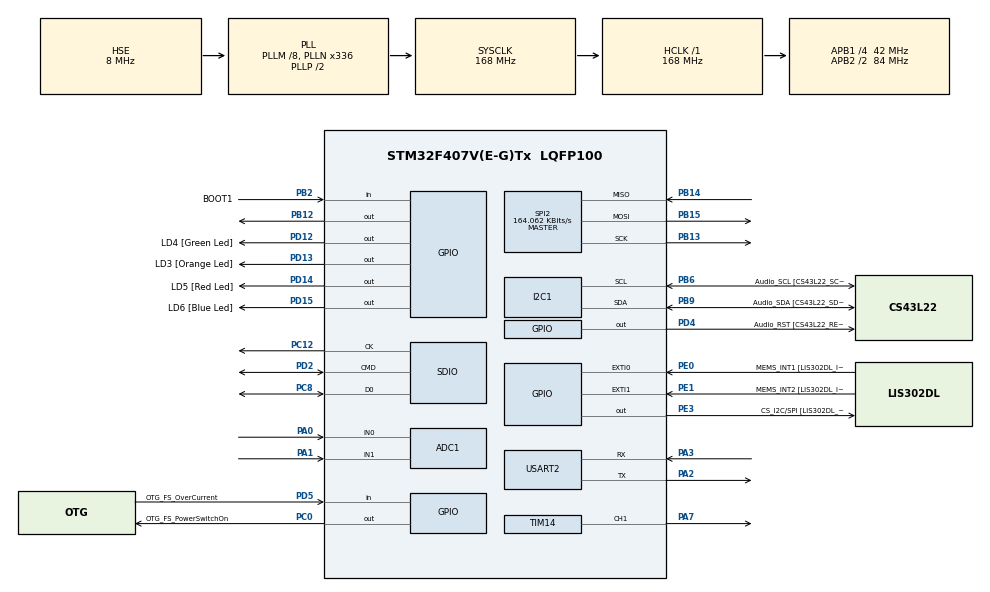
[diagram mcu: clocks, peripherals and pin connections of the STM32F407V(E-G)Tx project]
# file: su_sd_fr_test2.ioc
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ADC1.Channel-0\#ChannelRegularConversion=ADC_CHANNEL_0
ADC1.ContinuousConvMode=DISABLE
ADC1.NbrOfConversionFlag=1
ADC1.Rank-0\#ChannelRegularConversion=1
ADC1.SamplingTime-0\#ChannelRegularConversion=ADC_SAMPLETIME_3CYCLES
ADC1.master=1
Mcu.Family=STM32F4
Mcu.Name=STM32F407V(E-G)Tx
Mcu.Package=LQFP100
NVIC.ADC_IRQn=true\:0\:0\:false
NVIC.I2C1_EV_IRQn=true\:0\:0\:false
NVIC.PriorityGroup=NVIC_PRIORITYGROUP_4
NVIC.SDIO_IRQn=true\:0\:0\:false
NVIC.SPI2_IRQn=true\:0\:0\:false
NVIC.TIM8_TRG_COM_TIM14_IRQn=true\:0\:0\:false
NVIC.USART2_IRQn=true\:0\:0\:false
PA0-WKUP.Signal=ADCx_IN0
PA1.Signal=ADCx_IN1
PA10.GPIO_Label=OTG_FS_ID
PA10.GPIO_Mode=GPIO_MODE_AF_PP
PA10.GPIO_PuPd=GPIO_NOPULL
PA10.GPIO_Speed=GPIO_SPEED_LOW
PA10.Signal=USB_OTG_FS_ID
PA11.GPIO_Label=OTG_FS_DM
PA11.GPIO_Mode=GPIO_MODE_AF_PP
PA11.GPIO_PuPd=GPIO_NOPULL
PA11.GPIO_Speed=GPIO_SPEED_LOW
PA11.Signal=USB_OTG_FS_DM
PA12.GPIO_Label=OTG_FS_DP
PA12.GPIO_Mode=GPIO_MODE_AF_PP
PA12.GPIO_PuPd=GPIO_NOPULL
PA12.GPIO_Speed=GPIO_SPEED_LOW
PA12.Signal=USB_OTG_FS_DP
PA13.GPIO_Label=SWDIO
PA13.Mode=Trace-Asynchronous_SW
PA13.Signal=SYS_JTMS-SWDIO
PA14.GPIO_Label=SWCLK
PA14.Mode=Trace-Asynchronous_SW
PA14.Signal=SYS_JTCK-SWCLK
PA2.Mode=Asynchronous
PA2.Signal=USART2_TX
PA3.Mode=Asynchronous
PA3.Signal=USART2_RX
PA4.GPIO_Label=I2S3_WS [CS43L22_LRCK]
PA4.GPIO_Mode=GPIO_MODE_AF_PP
PA4.GPIO_PuPd=GPIO_NOPULL
PA4.GPIO_Speed=GPIO_SPEED_LOW
PA4.Signal=I2S3_WS
PA5.GPIO_Label=SPI1_SCK [LIS302DL_SCL/SPC]
PA5.GPIO_Mode=GPIO_MODE_AF_PP
PA5.GPIO_PuPd=GPIO_NOPULL
PA5.GPIO_Speed=GPIO_SPEED_LOW
PA5.Signal=SPI1_SCK
PA6.GPIO_Label=SPI1_MISO [LIS302DL_SDO]
PA6.GPIO_Mode=GPIO_MODE_AF_PP
PA6.GPIO_PuPd=GPIO_NOPULL
PA6.GPIO_Speed=GPIO_SPEED_LOW
PA6.Signal=SPI1_MISO
PA7.Signal=S_TIM14_CH1
PA9.GPIO_Label=VBUS_FS
PA9.GPIO_Mode=GPIO_MODE_INPUT
PA9.GPIO_PuPd=GPIO_NOPULL
PA9.Signal=USB_OTG_FS_VBUS
PB10.GPIO_Label=CLK_IN [MP45DT02_CLK]
PB10.GPIO_Mode=GPIO_MODE_AF_PP
PB10.GPIO_PuPd=GPIO_NOPULL
PB10.GPIO_Speed=GPIO_SPEED_LOW
PB10.Signal=I2S2_CK
PB12.GPIO_ModeDefaultOutputPP=GPIO_MODE_OUTPUT_OD
PB12.GPIO_PuPd=GPIO_PULLUP
PB12.GPIO_Speed=GPIO_SPEED_HIGH
PB12.Signal=GPIO_Output
PB13.Mode=Full_Duplex_Master
PB13.Signal=SPI2_SCK
PB14.Mode=Full_Duplex_Master
PB14.Signal=SPI2_MISO
PB15.Mode=Full_Duplex_Master
PB15.Signal=SPI2_MOSI
PB2.GPIO_Label=BOOT1
PB2.GPIO_Mode=GPIO_MODE_INPUT
PB2.GPIO_PuPd=GPIO_NOPULL
PB2.Signal=GPIO_Input
PB3.GPIO_Label=SWO
PB3.Mode=Trace-Asynchronous_SW
PB3.Signal=SYS_JTDO-SWO
PB6.GPIO_Label=Audio_SCL [CS43L22_SCL]
PB6.GPIO_Mode=GPIO_MODE_AF_OD
PB6.GPIO_PuPd=GPIO_NOPULL
PB6.GPIO_Speed=GPIO_SPEED_LOW
PB6.Mode=I2C
PB6.Signal=I2C1_SCL
PB9.GPIO_Label=Audio_SDA [CS43L22_SDA]
PB9.GPIO_Mode=GPIO_MODE_AF_OD
PB9.GPIO_PuPd=GPIO_NOPULL
PB9.GPIO_Speed=GPIO_SPEED_LOW
PB9.Mode=I2C
PB9.Signal=I2C1_SDA
PC0.GPIO_Label=OTG_FS_PowerSwitchOn
PC0.GPIO_PuPd=GPIO_NOPULL
PC0.GPIO_Speed=GPIO_SPEED_LOW
PC0.Signal=GPIO_Output
PC10.GPIO_Label=I2S3_SCK [CS43L22_SCLK]
PC10.GPIO_Mode=GPIO_MODE_AF_PP
PC10.GPIO_PuPd=GPIO_NOPULL
PC10.GPIO_Speed=GPIO_SPEED_LOW
PC10.Signal=I2S3_CK
PC12.Mode=SD_1_bit
PC12.Signal=SDIO_CK
PC14-OSC32_IN.GPIO_Label=PC14-OSC32_IN
PC14-OSC32_IN.Signal=RCC_OSC32_IN
PC15-OSC32_OUT.GPIO_Label=PC15-OSC32_OUT
PC15-OSC32_OUT.Signal=RCC_OSC32_OUT
PC3.GPIO_Label=PDM_OUT [MP45DT02_DOUT]
PC3.GPIO_Mode=GPIO_MODE_AF_PP
PC3.GPIO_PuPd=GPIO_NOPULL
PC3.GPIO_Speed=GPIO_SPEED_LOW
PC3.Signal=I2S2_SD
PC7.GPIO_Label=I2S3_MCK [CS43L22_MCLK]
PC7.GPIO_Mode=GPIO_MODE_AF_PP
PC7.GPIO_PuPd=GPIO_NOPULL
PC7.GPIO_Speed=GPIO_SPEED_LOW
PC7.Signal=I2S3_MCK
PC8.Mode=SD_1_bit
PC8.Signal=SDIO_D0
PD12.GPIO_Label=LD4 [Green Led]
PD12.GPIO_PuPd=GPIO_NOPULL
PD12.GPIO_Speed=GPIO_SPEED_LOW
PD12.Signal=GPIO_Output
PD13.GPIO_Label=LD3 [Orange Led]
PD13.GPIO_PuPd=GPIO_NOPULL
PD13.GPIO_Speed=GPIO_SPEED_LOW
PD13.Signal=GPIO_Output
PD14.GPIO_Label=LD5 [Red Led]
PD14.GPIO_PuPd=GPIO_NOPULL
PD14.GPIO_Speed=GPIO_SPEED_LOW
PD14.Signal=GPIO_Output
PD15.GPIO_Label=LD6 [Blue Led]
PD15.GPIO_PuPd=GPIO_NOPULL
PD15.GPIO_Speed=GPIO_SPEED_LOW
PD15.Signal=GPIO_Output
PD2.Mode=SD_1_bit
PD2.Signal=SDIO_CMD
PD4.GPIO_Label=Audio_RST [CS43L22_RESET]
PD4.GPIO_PuPd=GPIO_NOPULL
PD4.GPIO_Speed=GPIO_SPEED_LOW
PD4.Signal=GPIO_Output
PD5.GPIO_Label=OTG_FS_OverCurrent
PD5.GPIO_Mode=GPIO_MODE_INPUT
PD5.GPIO_PuPd=GPIO_NOPULL
PD5.Signal=GPIO_Input
PE0.GPIO_Label=MEMS_INT1 [LIS302DL_INT1]
PE0.Signal=GPXTI0
PE1.GPIO_Label=MEMS_INT2 [LIS302DL_INT2]
PE1.GPIO_ModeDefaultEXTI=GPIO_MODE_EVT_RISING
PE1.GPIO_PuPd=GPIO_NOPULL
PE1.Signal=GPXTI1
PE3.GPIO_Label=CS_I2C/SPI [LIS302DL_CS_I2C/SPI]
PE3.GPIO_PuPd=GPIO_NOPULL
PE3.GPIO_Speed=GPIO_SPEED_LOW
PE3.Signal=GPIO_Output
PH0-OSC_IN.GPIO_Label=PH0-OSC_IN
PH0-OSC_IN.Mode=HSE-External-Oscillator
PH0-OSC_IN.Signal=RCC_OSC_IN
PH1-OSC_OUT.GPIO_Label=PH1-OSC_OUT
PH1-OSC_OUT.Mode=HSE-External-Oscillator
PH1-OSC_OUT.Signal=RCC_OSC_OUT
ProjectManager.TargetToolchain=EWARM
RCC.AHBFreq_Value=168000000
RCC.APB1CLKDivider=RCC_HCLK_DIV4
RCC.APB1Freq_Value=42000000
RCC.APB1TimFreq_Value=84000000
RCC.APB2CLKDivider=RCC_HCLK_DIV2
RCC.APB2Freq_Value=84000000
RCC.APB2TimFreq_Value=168000000
RCC.CortexFreq_Value=168000000
RCC.HCLKFreq_Value=168000000
RCC.HSE_VALUE=8000000
RCC.HSI_VALUE=16000000
RCC.LSE_VALUE=32768
RCC.PLLM=8
RCC.PLLN=336
RCC.PLLQ=7
RCC.PLLSourceVirtual=RCC_PLLSOURCE_HSE
RCC.SYSCLKFreq_VALUE=168000000
RCC.SYSCLKSource=RCC_SYSCLKSOURCE_PLLCLK
RCC.VCOOutputFreq_Value=336000000
SDIO.BusWide=SDIO_BUS_WIDE_1B
SH.ADCx_IN0.0=ADC1_IN0,IN0
SH.ADCx_IN1.0=ADC1_IN1,IN1
SH.S_TIM14_CH1.0=TIM14_CH1,PWM Generation1 CH1
SPI2.BaudRatePrescaler=SPI_BAUDRATEPRESCALER_256
SPI2.CalculateBaudRate=164.062 KBits/s
SPI2.Mode=SPI_MODE_MASTER
TIM14.Period=0
TIM14.Pulse=0x00ff
VP_FATFS_VS_SDIO.Mode=SDIO
VP_TIM14_VS_ClockSourceINT.Mode=Enable_Timer
board=STM32F407G-DISC1

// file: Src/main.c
/**
  ******************************************************************************
  * File Name          : main.c
  * Description        : Main program body
  ******************************************************************************
  *
  * COPYRIGHT(c) 2016 STMicroelectronics
  *
  * Redistribution and use in source and binary forms, with or without modification,
  * are permitted provided that the following conditions are met:
  *   1. Redistributions of source code must retain the above copyright notice,
  *      this list of conditions and the following disclaimer.
  *   2. Redistributions in binary form must reproduce the above copyright notice,
  *      this list of conditions and the following disclaimer in the documentation
  *      and/or other materials provided with the distribution.
  *   3. Neither the name of STMicroelectronics nor the names of its contributors
  *      may be used to endorse or promote products derived from this software
  *      without specific prior written permission.
  *
  * THIS SOFTWARE IS PROVIDED BY THE COPYRIGHT HOLDERS AND CONTRIBUTORS "AS IS"
  * AND ANY EXPRESS OR IMPLIED WARRANTIES, INCLUDING, BUT NOT LIMITED TO, THE
  * IMPLIED WARRANTIES OF MERCHANTABILITY AND FITNESS FOR A PARTICULAR PURPOSE ARE
  * DISCLAIMED. IN NO EVENT SHALL THE COPYRIGHT HOLDER OR CONTRIBUTORS BE LIABLE
  * FOR ANY DIRECT, INDIRECT, INCIDENTAL, SPECIAL, EXEMPLARY, OR CONSEQUENTIAL
  * DAMAGES (INCLUDING, BUT NOT LIMITED TO, PROCUREMENT OF SUBSTITUTE GOODS OR
  * SERVICES; LOSS OF USE, DATA, OR PROFITS; OR BUSINESS INTERRUPTION) HOWEVER
  * CAUSED AND ON ANY THEORY OF LIABILITY, WHETHER IN CONTRACT, STRICT LIABILITY,
  * OR TORT (INCLUDING NEGLIGENCE OR OTHERWISE) ARISING IN ANY WAY OUT OF THE USE
  * OF THIS SOFTWARE, EVEN IF ADVISED OF THE POSSIBILITY OF SUCH DAMAGE.
  *
  ******************************************************************************
  */
#include "stm32f4xx_hal.h"
#include "fatfs.h"

/* USER CODE BEGIN Includes */
  FIL MyFile;

  FRESULT res;                                          /* FatFs function common result code */
  uint32_t byteswritten, bytesread;                     /* File write/read counts */
  uint8_t wtext[] = "This is STM32 working with FatFs"; /* File write buffer */
  uint8_t rtext[100];
  FATFS test;
/* USER CODE END Includes */

ADC_HandleTypeDef hadc1;

I2C_HandleTypeDef hi2c1;

SD_HandleTypeDef hsd;
HAL_SD_CardInfoTypedef SDCardInfo;

SPI_HandleTypeDef hspi2;

TIM_HandleTypeDef htim14;

UART_HandleTypeDef huart2;

/* USER CODE BEGIN PV */
/* Private variables ---------------------------------------------------------*/

/* USER CODE END PV */

void SystemClock_Config(void);
static void MX_GPIO_Init(void);
static void MX_ADC1_Init(void);
static void MX_I2C1_Init(void);
static void MX_SDIO_SD_Init(void);
static void MX_SPI2_Init(void);
static void MX_TIM14_Init(void);
static void MX_USART2_UART_Init(void);

/* USER CODE BEGIN PFP */
/* Private function prototypes -----------------------------------------------*/

/* USER CODE END PFP */

int main(void)
{

  /* MCU Configuration----------------------------------------------------------*/

  /* Reset of all peripherals, Initializes the Flash interface and the Systick. */
  HAL_Init();

  /* Configure the system clock */
  SystemClock_Config();

  /* Initialize all configured peripherals */
  MX_GPIO_Init();
  MX_ADC1_Init();
  MX_I2C1_Init();
  MX_SDIO_SD_Init();
  MX_SPI2_Init();
  MX_TIM14_Init();
  MX_USART2_UART_Init();
  MX_FATFS_Init();

  /* USER CODE BEGIN 2 */
  /* Register the file system object to the FatFs module */
  HAL_GPIO_WritePin(GPIOB, GPIO_PIN_12, GPIO_PIN_SET);

  /* Register the file system object to the FatFs module */
//  if(f_mount(&test, SD_Path, 0) != FR_OK)
//  {
//    /* FatFs Initialization Error */
//  }
//  else
//  {
//      /* Create and Open a new text file object with write access */
//   FRESULT lala = f_open(&MyFile, "STM32.TXT", FA_CREATE_ALWAYS | FA_WRITE);
//      if(lala != FR_OK)
//      {
//        /* 'STM32.TXT' file Open for write Error */
//      }
//      else
//      {
//        /* Write data to the text file */
//        res = f_write(&MyFile, wtext, sizeof(wtext), (void *)&byteswritten);
//
//        if((byteswritten == 0) || (res != FR_OK))
//        {
//          /* 'STM32.TXT' file Write or EOF Error */
//        }
//        else
//        {
//          /* Close the open text file */
//          f_close(&MyFile);
//        }
//      }
//  }
//  0x0f
  uint8_t temp[2],rtemp[2];
  uint32_t cnt, cnv;
  TIM_OC_InitTypeDef sConfigOC;

       sConfigOC.OCMode = TIM_OCMODE_PWM1;
     sConfigOC.Pulse = 0;
     sConfigOC.OCPolarity = TIM_OCPOLARITY_HIGH;
     sConfigOC.OCFastMode = TIM_OCFAST_DISABLE;

  temp[0] = 0x20;
  temp[1] = 0x0F;

  //while(HAL_I2C_IsDeviceReady(&hi2c1,  ( 0x3B << 1 ), 3, 1000) != HAL_I2C_STATE_READY ) {}
  HAL_TIM_Base_Start(&htim14);
  HAL_TIM_PWM_Start(&htim14, TIM_CHANNEL_1);

  HAL_I2C_Mem_Write(&hi2c1, ( 0x6B << 1 ), 0x20, 1, temp, 1, 10000);
  temp[0] = 0x01;
  HAL_I2C_Mem_Read(&hi2c1, ( 0x6B << 1 ), 0x0f, 1, temp, 1, 10000);

  HAL_ADC_Start(&hadc1);
  HAL_ADC_PollForConversion(&hadc1, 10000);
  cnv = HAL_ADC_GetValue(&hadc1);

  temp[0] = 0xB6;

  /* USER CODE END 2 */

  /* Infinite loop */
  /* USER CODE BEGIN WHILE */
  while (1)
  {
     HAL_UART_Transmit(&huart2, temp, 2 , 10000);
     HAL_Delay(1000);
     HAL_I2C_Mem_Read(&hi2c1, ( 0x3B << 1 ), 0x0f, 1, temp, 1, 10000);

     HAL_GPIO_WritePin(GPIOB, GPIO_PIN_12, GPIO_PIN_RESET);
     HAL_SPI_TransmitReceive(&hspi2, temp, rtemp, 2, 10000);
     HAL_GPIO_WritePin(GPIOB, GPIO_PIN_12, GPIO_PIN_SET);

     cnt += 250;
     if( cnt > 0x0fff ) cnt = 0;
     sConfigOC.Pulse = cnt;
     HAL_TIM_PWM_ConfigChannel(&htim14, &sConfigOC, TIM_CHANNEL_1);
     HAL_TIM_PWM_Start(&htim14, TIM_CHANNEL_1);

     HAL_ADC_Start(&hadc1);
     HAL_ADC_PollForConversion(&hadc1, 10000);
     cnv = HAL_ADC_GetValue(&hadc1);
     HAL_UART_Transmit(&huart2, (uint8_t *) &cnv, 1 , 10000);

  /* USER CODE END WHILE */

  }

}

/** System Clock Configuration
*/
void SystemClock_Config(void)
{

  RCC_OscInitTypeDef RCC_OscInitStruct;
  RCC_ClkInitTypeDef RCC_ClkInitStruct;

  __PWR_CLK_ENABLE();

  __HAL_PWR_VOLTAGESCALING_CONFIG(PWR_REGULATOR_VOLTAGE_SCALE1);

  RCC_OscInitStruct.OscillatorType = RCC_OSCILLATORTYPE_HSE;
  RCC_OscInitStruct.HSEState = RCC_HSE_ON;
  RCC_OscInitStruct.PLL.PLLState = RCC_PLL_ON;
  RCC_OscInitStruct.PLL.PLLSource = RCC_PLLSOURCE_HSE;
  RCC_OscInitStruct.PLL.PLLM = 8;
  RCC_OscInitStruct.PLL.PLLN = 336;
  RCC_OscInitStruct.PLL.PLLP = RCC_PLLP_DIV2;
  RCC_OscInitStruct.PLL.PLLQ = 7;
  HAL_RCC_OscConfig(&RCC_OscInitStruct);

  RCC_ClkInitStruct.ClockType = RCC_CLOCKTYPE_SYSCLK|RCC_CLOCKTYPE_PCLK1
                              |RCC_CLOCKTYPE_PCLK2;
  RCC_ClkInitStruct.SYSCLKSource = RCC_SYSCLKSOURCE_PLLCLK;
  RCC_ClkInitStruct.AHBCLKDivider = RCC_SYSCLK_DIV1;
  RCC_ClkInitStruct.APB1CLKDivider = RCC_HCLK_DIV4;
  RCC_ClkInitStruct.APB2CLKDivider = RCC_HCLK_DIV2;
  HAL_RCC_ClockConfig(&RCC_ClkInitStruct, FLASH_LATENCY_5);

  HAL_SYSTICK_Config(HAL_RCC_GetHCLKFreq()/1000);

  HAL_SYSTICK_CLKSourceConfig(SYSTICK_CLKSOURCE_HCLK);

  /* SysTick_IRQn interrupt configuration */
  HAL_NVIC_SetPriority(SysTick_IRQn, 0, 0);
}

/* ADC1 init function */
void MX_ADC1_Init(void)
{

  ADC_ChannelConfTypeDef sConfig;

    /**Configure the global features of the ADC (Clock, Resolution, Data Alignment and number of conversion)
    */
  hadc1.Instance = ADC1;
  hadc1.Init.ClockPrescaler = ADC_CLOCKPRESCALER_PCLK_DIV4;
  hadc1.Init.Resolution = ADC_RESOLUTION12b;
  hadc1.Init.ScanConvMode = DISABLE;
  hadc1.Init.ContinuousConvMode = DISABLE;
  hadc1.Init.DiscontinuousConvMode = DISABLE;
  hadc1.Init.ExternalTrigConvEdge = ADC_EXTERNALTRIGCONVEDGE_NONE;
  hadc1.Init.DataAlign = ADC_DATAALIGN_RIGHT;
  hadc1.Init.NbrOfConversion = 1;
  hadc1.Init.DMAContinuousRequests = DISABLE;
  hadc1.Init.EOCSelection = EOC_SINGLE_CONV;
  HAL_ADC_Init(&hadc1);

    /**Configure for the selected ADC regular channel its corresponding rank in the sequencer and its sample time.
    */
  sConfig.Channel = ADC_CHANNEL_0;
  sConfig.Rank = 1;
  sConfig.SamplingTime = ADC_SAMPLETIME_3CYCLES;
  HAL_ADC_ConfigChannel(&hadc1, &sConfig);

}

/* I2C1 init function */
void MX_I2C1_Init(void)
{

  hi2c1.Instance = I2C1;
  hi2c1.Init.ClockSpeed = 100000;
  hi2c1.Init.DutyCycle = I2C_DUTYCYCLE_2;
  hi2c1.Init.OwnAddress1 = 0;
  hi2c1.Init.AddressingMode = I2C_ADDRESSINGMODE_7BIT;
  hi2c1.Init.DualAddressMode = I2C_DUALADDRESS_DISABLED;
  hi2c1.Init.OwnAddress2 = 0;
  hi2c1.Init.GeneralCallMode = I2C_GENERALCALL_DISABLED;
  hi2c1.Init.NoStretchMode = I2C_NOSTRETCH_DISABLED;
  HAL_I2C_Init(&hi2c1);

}

/* SDIO init function */
void MX_SDIO_SD_Init(void)
{

  hsd.Instance = SDIO;
  hsd.Init.ClockEdge = SDIO_CLOCK_EDGE_RISING;
  hsd.Init.ClockBypass = SDIO_CLOCK_BYPASS_DISABLE;
  hsd.Init.ClockPowerSave = SDIO_CLOCK_POWER_SAVE_DISABLE;
  hsd.Init.BusWide = SDIO_BUS_WIDE_1B;
  hsd.Init.HardwareFlowControl = SDIO_HARDWARE_FLOW_CONTROL_DISABLE;
  hsd.Init.ClockDiv = 0;

}

/* SPI2 init function */
void MX_SPI2_Init(void)
{

  hspi2.Instance = SPI2;
  hspi2.Init.Mode = SPI_MODE_MASTER;
  hspi2.Init.Direction = SPI_DIRECTION_2LINES;
  hspi2.Init.DataSize = SPI_DATASIZE_8BIT;
  hspi2.Init.CLKPolarity = SPI_POLARITY_LOW;
  hspi2.Init.CLKPhase = SPI_PHASE_1EDGE;
  hspi2.Init.NSS = SPI_NSS_SOFT;
  hspi2.Init.BaudRatePrescaler = SPI_BAUDRATEPRESCALER_256;
  hspi2.Init.FirstBit = SPI_FIRSTBIT_MSB;
  hspi2.Init.TIMode = SPI_TIMODE_DISABLED;
  hspi2.Init.CRCCalculation = SPI_CRCCALCULATION_DISABLED;
  hspi2.Init.CRCPolynomial = 10;
  HAL_SPI_Init(&hspi2);

}

/* TIM14 init function */
void MX_TIM14_Init(void)
{

  TIM_OC_InitTypeDef sConfigOC;

  htim14.Instance = TIM14;
  htim14.Init.Prescaler = 0;
  htim14.Init.CounterMode = TIM_COUNTERMODE_UP;
  htim14.Init.Period = 0x0fff;
  htim14.Init.ClockDivision = TIM_CLOCKDIVISION_DIV1;
  HAL_TIM_Base_Init(&htim14);

  HAL_TIM_PWM_Init(&htim14);

  sConfigOC.OCMode = TIM_OCMODE_PWM1;
  sConfigOC.Pulse = 0x009ff;
  sConfigOC.OCPolarity = TIM_OCPOLARITY_HIGH;
  sConfigOC.OCFastMode = TIM_OCFAST_DISABLE;
  HAL_TIM_PWM_ConfigChannel(&htim14, &sConfigOC, TIM_CHANNEL_1);

}

/* USART2 init function */
void MX_USART2_UART_Init(void)
{

  huart2.Instance = USART2;
  huart2.Init.BaudRate = 115200;
  huart2.Init.WordLength = UART_WORDLENGTH_8B;
  huart2.Init.StopBits = UART_STOPBITS_1;
  huart2.Init.Parity = UART_PARITY_NONE;
  huart2.Init.Mode = UART_MODE_TX_RX;
  huart2.Init.HwFlowCtl = UART_HWCONTROL_NONE;
  huart2.Init.OverSampling = UART_OVERSAMPLING_16;
  HAL_UART_Init(&huart2);

}

/** Configure pins as
        * Analog
        * Input
        * Output
        * EVENT_OUT
        * EXTI
     PC3   ------> I2S2_SD
     PA4   ------> I2S3_WS
     PA5   ------> SPI1_SCK
     PA6   ------> SPI1_MISO
     PB10   ------> I2S2_CK
     PC7   ------> I2S3_MCK
     PA9   ------> USB_OTG_FS_VBUS
     PA10   ------> USB_OTG_FS_ID
     PA11   ------> USB_OTG_FS_DM
     PA12   ------> USB_OTG_FS_DP
     PC10   ------> I2S3_CK
*/
void MX_GPIO_Init(void)
{

  GPIO_InitTypeDef GPIO_InitStruct;

  /* GPIO Ports Clock Enable */
  __GPIOE_CLK_ENABLE();
  __GPIOC_CLK_ENABLE();
  __GPIOH_CLK_ENABLE();
  __GPIOA_CLK_ENABLE();
  __GPIOB_CLK_ENABLE();
  __GPIOD_CLK_ENABLE();

  /*Configure GPIO pin : CS_I2C_SPI_Pin */
  GPIO_InitStruct.Pin = CS_I2C_SPI_Pin;
  GPIO_InitStruct.Mode = GPIO_MODE_OUTPUT_PP;
  GPIO_InitStruct.Pull = GPIO_NOPULL;
  GPIO_InitStruct.Speed = GPIO_SPEED_LOW;
  HAL_GPIO_Init(CS_I2C_SPI_GPIO_Port, &GPIO_InitStruct);

  /*Configure GPIO pin : OTG_FS_PowerSwitchOn_Pin */
  GPIO_InitStruct.Pin = OTG_FS_PowerSwitchOn_Pin;
  GPIO_InitStruct.Mode = GPIO_MODE_OUTPUT_PP;
  GPIO_InitStruct.Pull = GPIO_NOPULL;
  GPIO_InitStruct.Speed = GPIO_SPEED_LOW;
  HAL_GPIO_Init(OTG_FS_PowerSwitchOn_GPIO_Port, &GPIO_InitStruct);

  /*Configure GPIO pin : PDM_OUT_Pin */
  GPIO_InitStruct.Pin = PDM_OUT_Pin;
  GPIO_InitStruct.Mode = GPIO_MODE_AF_PP;
  GPIO_InitStruct.Pull = GPIO_NOPULL;
  GPIO_InitStruct.Speed = GPIO_SPEED_LOW;
  GPIO_InitStruct.Alternate = GPIO_AF5_SPI2;
  HAL_GPIO_Init(PDM_OUT_GPIO_Port, &GPIO_InitStruct);

  /*Configure GPIO pin : PA4 */
  GPIO_InitStruct.Pin = GPIO_PIN_4;
  GPIO_InitStruct.Mode = GPIO_MODE_AF_PP;
  GPIO_InitStruct.Pull = GPIO_NOPULL;
  GPIO_InitStruct.Speed = GPIO_SPEED_LOW;
  GPIO_InitStruct.Alternate = GPIO_AF6_SPI3;
  HAL_GPIO_Init(GPIOA, &GPIO_InitStruct);

  /*Configure GPIO pins : PA5 PA6 */
  GPIO_InitStruct.Pin = GPIO_PIN_5|GPIO_PIN_6;
  GPIO_InitStruct.Mode = GPIO_MODE_AF_PP;
  GPIO_InitStruct.Pull = GPIO_NOPULL;
  GPIO_InitStruct.Speed = GPIO_SPEED_LOW;
  GPIO_InitStruct.Alternate = GPIO_AF5_SPI1;
  HAL_GPIO_Init(GPIOA, &GPIO_InitStruct);

  /*Configure GPIO pin : BOOT1_Pin */
  GPIO_InitStruct.Pin = BOOT1_Pin;
  GPIO_InitStruct.Mode = GPIO_MODE_INPUT;
  GPIO_InitStruct.Pull = GPIO_NOPULL;
  HAL_GPIO_Init(BOOT1_GPIO_Port, &GPIO_InitStruct);

  /*Configure GPIO pin : CLK_IN_Pin */
  GPIO_InitStruct.Pin = CLK_IN_Pin;
  GPIO_InitStruct.Mode = GPIO_MODE_AF_PP;
  GPIO_InitStruct.Pull = GPIO_NOPULL;
  GPIO_InitStruct.Speed = GPIO_SPEED_LOW;
  GPIO_InitStruct.Alternate = GPIO_AF5_SPI2;
  HAL_GPIO_Init(CLK_IN_GPIO_Port, &GPIO_InitStruct);

  /*Configure GPIO pin : PB12 */
  GPIO_InitStruct.Pin = GPIO_PIN_12;
  GPIO_InitStruct.Mode = GPIO_MODE_OUTPUT_OD;
  GPIO_InitStruct.Pull = GPIO_PULLUP;
  GPIO_InitStruct.Speed = GPIO_SPEED_HIGH;
  HAL_GPIO_Init(GPIOB, &GPIO_InitStruct);

  /*Configure GPIO pins : LD4_Pin LD3_Pin LD5_Pin LD6_Pin
                           Audio_RST_Pin */
  GPIO_InitStruct.Pin = LD4_Pin|LD3_Pin|LD5_Pin|LD6_Pin
                          |Audio_RST_Pin;
  GPIO_InitStruct.Mode = GPIO_MODE_OUTPUT_PP;
  GPIO_InitStruct.Pull = GPIO_NOPULL;
  GPIO_InitStruct.Speed = GPIO_SPEED_LOW;
  HAL_GPIO_Init(GPIOD, &GPIO_InitStruct);

  /*Configure GPIO pins : PC7 I2S3_SCK_Pin */
  GPIO_InitStruct.Pin = GPIO_PIN_7|I2S3_SCK_Pin;
  GPIO_InitStruct.Mode = GPIO_MODE_AF_PP;
  GPIO_InitStruct.Pull = GPIO_NOPULL;
  GPIO_InitStruct.Speed = GPIO_SPEED_LOW;
  GPIO_InitStruct.Alternate = GPIO_AF6_SPI3;
  HAL_GPIO_Init(GPIOC, &GPIO_InitStruct);

  /*Configure GPIO pin : VBUS_FS_Pin */
  GPIO_InitStruct.Pin = VBUS_FS_Pin;
  GPIO_InitStruct.Mode = GPIO_MODE_INPUT;
  GPIO_InitStruct.Pull = GPIO_NOPULL;
  HAL_GPIO_Init(VBUS_FS_GPIO_Port, &GPIO_InitStruct);

  /*Configure GPIO pins : OTG_FS_ID_Pin OTG_FS_DM_Pin OTG_FS_DP_Pin */
  GPIO_InitStruct.Pin = OTG_FS_ID_Pin|OTG_FS_DM_Pin|OTG_FS_DP_Pin;
  GPIO_InitStruct.Mode = GPIO_MODE_AF_PP;
  GPIO_InitStruct.Pull = GPIO_NOPULL;
  GPIO_InitStruct.Speed = GPIO_SPEED_LOW;
  GPIO_InitStruct.Alternate = GPIO_AF10_OTG_FS;
  HAL_GPIO_Init(GPIOA, &GPIO_InitStruct);

  /*Configure GPIO pin : OTG_FS_OverCurrent_Pin */
  GPIO_InitStruct.Pin = OTG_FS_OverCurrent_Pin;
  GPIO_InitStruct.Mode = GPIO_MODE_INPUT;
  GPIO_InitStruct.Pull = GPIO_NOPULL;
  HAL_GPIO_Init(OTG_FS_OverCurrent_GPIO_Port, &GPIO_InitStruct);

  /*Configure GPIO pin : MEMS_INT1_Pin */
  GPIO_InitStruct.Pin = MEMS_INT1_Pin;
  GPIO_InitStruct.Mode = GPIO_MODE_IT_RISING;
  GPIO_InitStruct.Pull = GPIO_NOPULL;
  HAL_GPIO_Init(MEMS_INT1_GPIO_Port, &GPIO_InitStruct);

  /*Configure GPIO pin : MEMS_INT2_Pin */
  GPIO_InitStruct.Pin = MEMS_INT2_Pin;
  GPIO_InitStruct.Mode = GPIO_MODE_EVT_RISING;
  GPIO_InitStruct.Pull = GPIO_NOPULL;
  HAL_GPIO_Init(MEMS_INT2_GPIO_Port, &GPIO_InitStruct);

}

/************************ (C) COPYRIGHT STMicroelectronics *****END OF FILE****/
